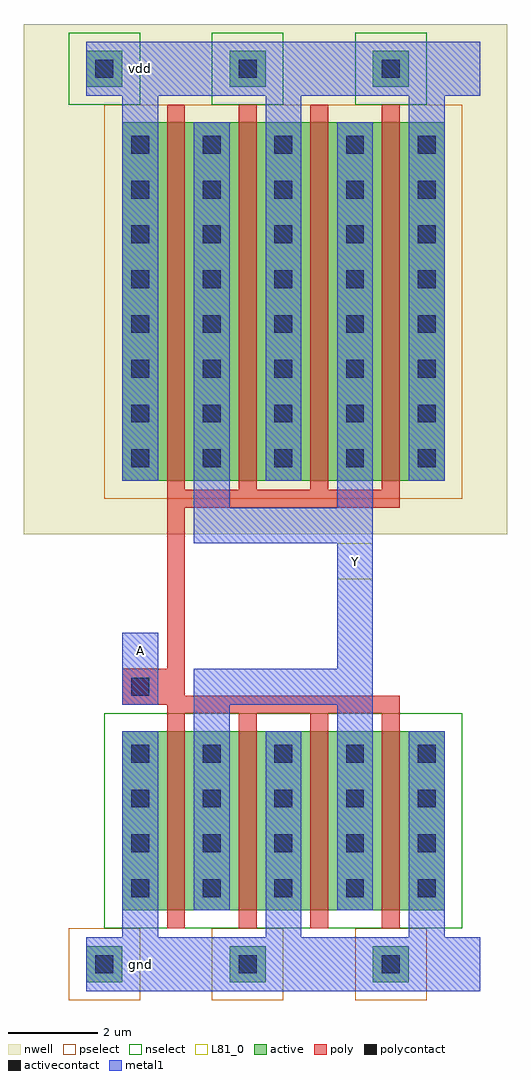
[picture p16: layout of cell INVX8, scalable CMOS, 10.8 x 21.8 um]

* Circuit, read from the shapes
.subckt INVX8 A Y gnd vdd
M1 Y A gnd gnd nfet w=4u l=0.4u m=4
M2 Y A vdd vdd pfet w=8u l=0.4u m=4
.ends

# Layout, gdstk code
import gdstk
lib = gdstk.Library(unit=1e-6, precision=1e-09)
def R(c, l, rs):  # rectangles x0, y0, x1, y1
    for r in rs: c.add(gdstk.rectangle(r[:2], r[2:], *l))
def A(c, l, x, y, w, h, nx, ny, dx, dy):  # array of equal rectangles
    R(c, l, [(x+i*dx, y+j*dy, x+i*dx+w, y+j*dy+h) for i in range(nx) for j in range(ny)])
nwell = (42, 0)
active = (43, 0)
pselect = (44, 0)
nselect = (45, 0)
poly = (46, 0)
polycontact = (47, 0)
activecontact = (48, 0)
metal1 = (49, 0)
L81_0 = (81, 0)

invx8 = lib.new_cell('INVX8')
R(invx8, nwell, [(-1.8,9.6,9,21)])
A(invx8, active, -0.4, -0.4, 0.8, 0.8, 3, 2, 3.2, 20)
R(invx8, active, [(0.4,1.2,7.6,5.2), (0.4,10.8,7.6,18.8)])
A(invx8, pselect, -0.8, -0.8, 1.6, 1.6, 3, 1, 3.2, 0)
R(invx8, pselect, [(0,10.4,8,19.2)])
A(invx8, nselect, -0.8, 19.2, 1.6, 1.6, 3, 1, 3.2, 0)
R(invx8, nselect, [(0,0.8,8,5.6)])
A(invx8, poly, 1.4, 0.8, 0.4, 4.8, 4, 1, 1.6, 0)
A(invx8, poly, 1.4, 10.6, 0.4, 8.6, 4, 1, 1.6, 0)
R(invx8, poly, [(1.4,5.6,6.6,5.8), (0.4,5.8,6.6,6), (0.4,6,1.8,6.6), (1.4,6.6,1.8,10.2), (1.4,10.2,6.6,10.6)])
R(invx8, polycontact, [(0.6,6,1,6.4)])
A(invx8, activecontact, -0.2, -0.2, 0.4, 0.4, 3, 2, 3.2, 20)
A(invx8, activecontact, 0.6, 1.5, 0.4, 0.4, 5, 4, 1.6, 1)
A(invx8, activecontact, 0.6, 11.1, 0.4, 0.4, 5, 8, 1.6, 1)
A(invx8, metal1, 0.4, 0.6, 0.8, 4.6, 3, 1, 3.2, 0)
A(invx8, metal1, 0.4, 10.8, 0.8, 8.6, 3, 1, 3.2, 0)
R(invx8, metal1, [(-0.4,-0.6,8.4,0.6), (2,1.2,2.8,5.8), (5.2,1.2,6,5.8), (0.4,5.8,1.2,7.4), (2,5.8,6,6.6), (5.2,6.6,6,9.4), (2,9.4,6,10.2), (2,10.2,2.8,18.8), (5.2,10.2,6,18.8), (-0.4,19.4,8.4,20.6)])
R(invx8, L81_0, [(0.4,6.6,1.2,7.4), (5.2,8.6,6,9.4)])
invx8.add(gdstk.Label('vdd', (0.8,20), layer=109, texttype=0))
invx8.add(gdstk.Label('gnd', (0.8,0), layer=109, texttype=0))
invx8.add(gdstk.Label('A', (0.8,7), layer=109, texttype=0))
invx8.add(gdstk.Label('Y', (5.6,9), layer=109, texttype=0))

lib.write_gds('INVX8.gds')
